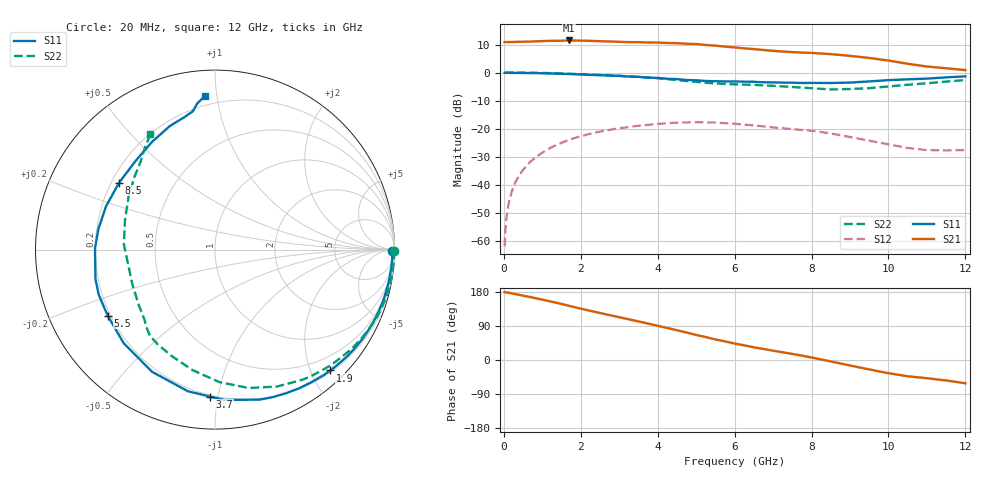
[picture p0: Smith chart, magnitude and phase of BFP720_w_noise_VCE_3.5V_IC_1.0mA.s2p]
! Infineon Technologies  Discrete & RF Semiconductors
! BFP720
! VCE =  3.5 V,  IC =  1.0 mA
! Common Emitter S-Parameters:  Aug 2012
# GHz  S  MA  R  50
!  f  S11  S21  S12  S22
! GHz  MAG  ANG  MAG  ANG  MAG  ANG  MAG  ANG
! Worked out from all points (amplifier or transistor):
!   104 points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, 20 MHz to 12 GHz, reference 50 ohm
!   highest |S21| = 11.5 dB at 1.7 GHz (marker M1)
!   |S21| within 3 dB of that: start of sweep to 6.417 GHz
!   unconditionally stable (mu >= 1): 8.186 GHz to 11.89 GHz
!   at 350 MHz: K = 0.00, MSG = 24.4 dB, |S12| = -37.9 dB
!   at 3.7 GHz: K = 0.26, MSG = 14.7 dB, |S12| = -18.7 dB
!   at 12 GHz: K = 0.91, MSG = 14.3 dB, |S12| = -27.6 dB
!   lowest NFmin = 0.50 dB at 450 MHz
!   S11 on the Smith chart (normalised r, x): 20 MHz: open; 1.9 GHz: 0.23, -2.31; 3.7 GHz: 0.19, -0.95; 5.5 GHz: 0.19, -0.27; 8.5 GHz: 0.23, +0.30; 12 GHz: 0.14, +0.93
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0.02  0.9888 -0.4  3.497 179.3  0.0008 100.2  0.9987 -0.3
0.05  0.9873 -1.1  3.502 178.6  0.0019 80.8  0.998 -0.9
0.12  0.9886 -2.7  3.499 177.5  0.0044 85.3  0.9985 -2.1
0.25  0.9877 -5.6  3.522 174.8  0.0092 85.4  0.9986 -4.4
0.4  0.9857 -9.0  3.545 171.9  0.0147 82.9  0.9965 -7.2
1.1  0.9678 -25.8  3.662 157.0  0.041 70.4  0.9814 -20.2
1.7  0.9406 -41.3  3.74 142.8  0.0631 58.2  0.9524 -31.7
1.9  0.9299 -46.4  3.719 138.0  0.0699 54.1  0.9415 -35.5
2.1  0.9186 -51.4  3.694 133.2  0.0764 49.8  0.9285 -39.2
2.8  0.8828 -68.6  3.577 117.3  0.0965 35.8  0.8863 -52.3
3.7  0.8191 -92.0  3.449 97.2  0.1159 18.0  0.8166 -69.8
4.1  0.791 -103.9  3.401 88.0  0.1228 10.2  0.7804 -78.5
4.5  0.7659 -117.2  3.348 78.5  0.1282 2.2  0.7391 -88.0
4.9  0.7306 -130.8  3.239 68.7  0.1296 -6.2  0.691 -98.0
5.5  0.702 -148.4  3.024 54.3  0.1283 -18.3  0.6407 -111.8
6.1  0.6921 -160.3  2.767 41.6  0.1206 -28.8  0.6145 -121.9
7  0.6685 179.2  2.442 24.5  0.1051 -41.2  0.5801 -130.8
8.5  0.6517 145.1  2.132 -3.8  0.082 -58.2  0.4994 -157.3
9.5  0.6952 120.3  1.823 -24.8  0.061 -63.3  0.5274 162.0
10  0.7326 110.2  1.639 -34.9  0.0524 -63.1  0.5649 148.5
10.5  0.7579 102.9  1.435 -42.9  0.0451 -58.8  0.6058 137.6
12  0.8566 93.8  1.106 -61.5  0.0415 -40.3  0.7359 119.3
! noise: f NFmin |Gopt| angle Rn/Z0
0.45  0.5  0.77  6  0.47
1.8  0.64  0.73  31  0.38
2.4  0.76  0.64  82  0.29
5.5  1.17  0.53  99  0.14
10  1.87  0.55  -118  0.28
